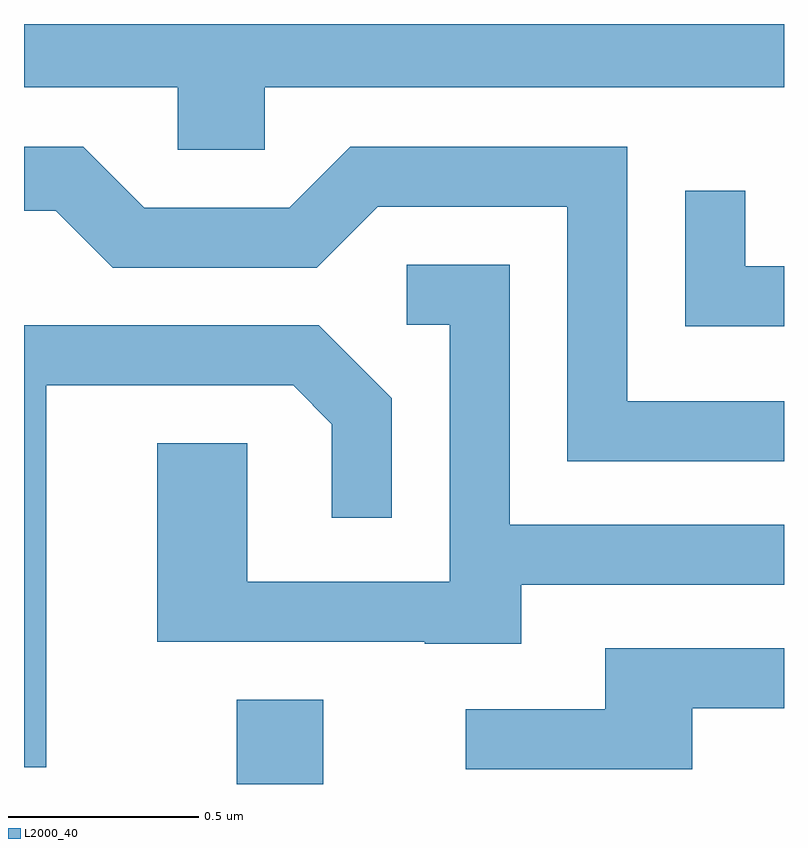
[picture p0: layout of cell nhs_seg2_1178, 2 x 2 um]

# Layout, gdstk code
import gdstk
lib = gdstk.Library(unit=1e-6, precision=1e-09)
def R(c, l, rs):  # rectangles x0, y0, x1, y1
    for r in rs: c.add(gdstk.rectangle(r[:2], r[2:], *l))
def P(c, l, *ps):  # polygons
    for p in ps: c.add(gdstk.Polygon(p, *l))
L2000_40 = (2000, 40)

nhs_seg2_1178 = lib.new_cell('nhs_seg2_1178')
R(nhs_seg2_1178, L2000_40, [(194.171,1059.802,194.399,1060.024)])
P(nhs_seg2_1178, L2000_40, [(194.244,1061.636),(195.611,1061.636),(195.611,1061.802),(193.611,1061.802),(193.611,1061.636),(194.016,1061.636),(194.016,1061.471),(194.244,1061.471)],
  [(195.611,1060.809),(195.199,1060.809),(195.199,1061.479),(194.469,1061.479),(194.309,1061.319),(193.927,1061.319),(193.767,1061.479),(193.611,1061.479),(193.611,1061.311),(193.694,1061.311),(193.844,1061.161),(194.382,1061.161),(194.542,1061.321),(195.041,1061.321),(195.041,1060.651),(195.611,1060.651)],
  [(195.611,1061.164),(195.509,1061.164),(195.509,1061.363),(195.351,1061.363),(195.351,1061.006),(195.611,1061.006)],
  [(194.919,1060.326),(195.611,1060.326),(195.611,1060.484),(194.889,1060.484),(194.889,1061.169),(194.618,1061.169),(194.618,1061.011),(194.731,1061.011),(194.731,1060.334),(194.199,1060.334),(194.199,1060.699),(193.961,1060.699),(193.961,1060.176),(194.665,1060.176),(194.665,1060.171),(194.919,1060.171)],
  [(193.669,1060.851),(194.319,1060.851),(194.421,1060.749),(194.421,1060.503),(194.579,1060.503),(194.579,1060.817),(194.387,1061.009),(193.611,1061.009),(193.611,1059.846),(193.669,1059.846)],
  [(195.369,1060.001),(195.611,1060.001),(195.611,1060.159),(195.141,1060.159),(195.141,1059.999),(194.773,1059.999),(194.773,1059.841),(195.369,1059.841)])

lib.write_gds('nhs_seg2_1178.gds')
